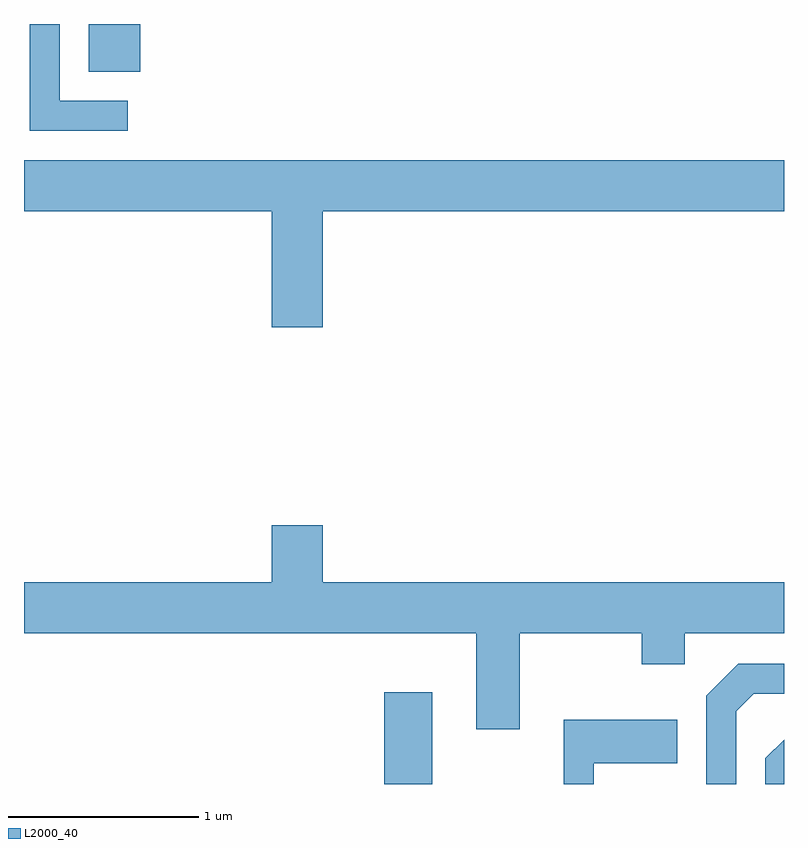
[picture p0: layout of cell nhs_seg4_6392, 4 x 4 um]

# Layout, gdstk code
import gdstk
lib = gdstk.Library(unit=1e-6, precision=1e-09)
def R(c, l, rs):  # rectangles x0, y0, x1, y1
    for r in rs: c.add(gdstk.rectangle(r[:2], r[2:], *l))
def P(c, l, *ps):  # polygons
    for p in ps: c.add(gdstk.Polygon(p, *l))
L2000_40 = (2000, 40)

nhs_seg4_6392 = lib.new_cell('nhs_seg4_6392')
R(nhs_seg4_6392, L2000_40, [(375.506,1253.982,375.759,1254.464), (373.951,1257.731,374.224,1257.982)])
P(nhs_seg4_6392, L2000_40, [(374.158,1257.579),(373.799,1257.579),(373.799,1257.982),(373.641,1257.982),(373.641,1257.421),(374.158,1257.421)],
  [(375.184,1256.996),(377.611,1256.996),(377.611,1257.264),(373.611,1257.264),(373.611,1256.996),(374.916,1256.996),(374.916,1256.386),(375.184,1256.386)],
  [(376.219,1254.776),(376.861,1254.776),(376.861,1254.611),(377.089,1254.611),(377.089,1254.776),(377.611,1254.776),(377.611,1255.044),(375.184,1255.044),(375.184,1255.344),(374.916,1255.344),(374.916,1255.044),(373.611,1255.044),(373.611,1254.776),(375.991,1254.776),(375.991,1254.271),(376.219,1254.271)],
  [(377.359,1254.364),(377.452,1254.456),(377.611,1254.456),(377.611,1254.614),(377.369,1254.614),(377.201,1254.447),(377.201,1253.982),(377.359,1253.982)],
  [(376.609,1254.091),(377.049,1254.091),(377.049,1254.319),(376.451,1254.319),(376.451,1253.982),(376.609,1253.982)],
  [(377.611,1254.216),(377.511,1254.117),(377.511,1253.982),(377.611,1253.982)])

lib.write_gds('nhs_seg4_6392.gds')
